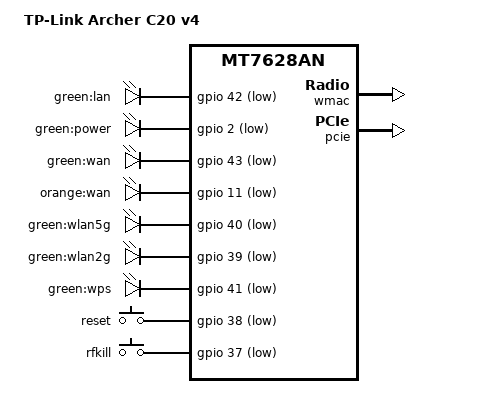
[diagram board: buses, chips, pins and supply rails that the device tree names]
#include "mt7628an_tplink_8m.dtsi"

/ {
	compatible = "tplink,archer-c20-v4", "mediatek,mt7628an-soc";
	model = "TP-Link Archer C20 v4";

	aliases {
		led-boot = &led_power;
		led-failsafe = &led_power;
		led-running = &led_power;
		led-upgrade = &led_power;
	};

	leds {
		compatible = "gpio-leds";

		lan {
			label = "green:lan";
			gpios = <&gpio 42 GPIO_ACTIVE_LOW>;
		};

		led_power: power {
			label = "green:power";
			gpios = <&gpio 2 GPIO_ACTIVE_LOW>;
		};

		wan {
			label = "green:wan";
			gpios = <&gpio 43 GPIO_ACTIVE_LOW>;
		};

		wan_orange {
			label = "orange:wan";
			gpios = <&gpio 11 GPIO_ACTIVE_LOW>;
		};

		wlan5g {
			label = "green:wlan5g";
			gpios = <&gpio 40 GPIO_ACTIVE_LOW>;
			linux,default-trigger = "phy1tpt";
		};

		wlan2g {
			label = "green:wlan2g";
			gpios = <&gpio 39 GPIO_ACTIVE_LOW>;
			linux,default-trigger = "phy0tpt";
		};

		wps {
			label = "green:wps";
			gpios = <&gpio 41 GPIO_ACTIVE_LOW>;
		};
	};

	keys {
		compatible = "gpio-keys";

		reset {
			label = "reset";
			gpios = <&gpio 38 GPIO_ACTIVE_LOW>;
			linux,code = <KEY_RESTART>;
		};

		rfkill {
			label = "rfkill";
			gpios = <&gpio 37 GPIO_ACTIVE_LOW>;
			linux,code = <KEY_RFKILL>;
		};
	};
};

&ehci {
	status = "disabled";
};

&ohci {
	status = "disabled";
};

&wmac {
	mtd-mac-address-increment = <(-2)>;
};

&esw {
	mediatek,portmap = <0x3e>;
};

&state_default {
	gpio {
		groups = "i2s", "gpio", "refclk", "p0led_an", "p1led_an", "p2led_an", "p3led_an", "p4led_an", "wdt";
		function = "gpio";
	};
};

&pcie {
	status = "okay";
};

&pcie0 {
	mt76@0,0 {
		reg = <0x0000 0 0 0 0>;
		mediatek,mtd-eeprom = <&factory 0x28000>;
		ieee80211-freq-limit = <5000000 6000000>;
		mtd-mac-address = <&factory 0xf100>;
		mtd-mac-address-increment = <(-1)>;
	};
};
